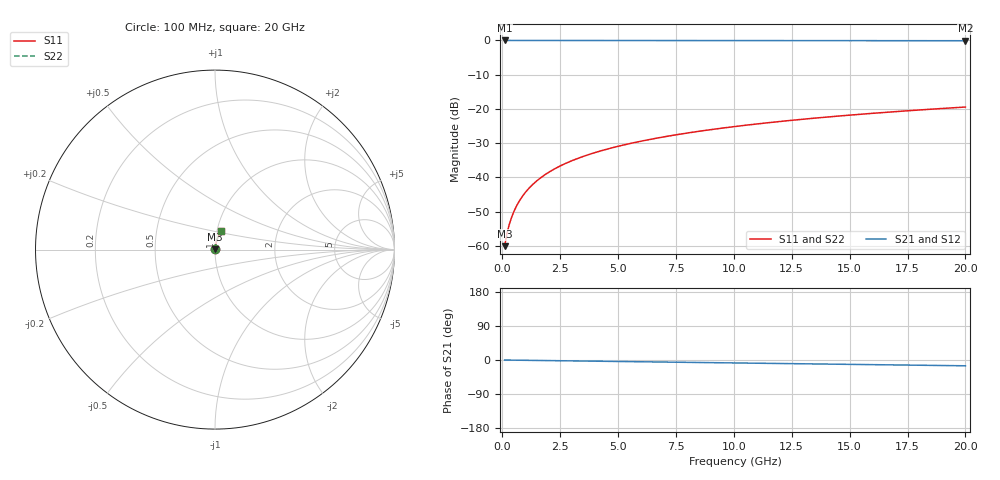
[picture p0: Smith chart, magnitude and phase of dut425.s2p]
! Touchstone file exported from HFSS 2026.1.0
!  File:  C:/ffzhzh/LocalFiles/Ansys_Project_Files/temp_train_TMRDL_425_1783005337_51716.aedt
!  Generated:  11:16:58 PM Jul  2, 2026
!  Design:  TMRDL
!  Project:  temp_train_TMRDL_425_1783005337_51716
! Variables:
!  h_bsmrdl = 2um
!  h_ox = 20um
!  h_rdl = 5um
!  h_sub = 80um
!  h_tmrdl = 5.84um
!  h_tsv = 80um
!  h_via = 3um
!  l_bsmrdl = 300um
!  l_sub = 626.07um
!  l_tmrdl = 226.07um
!  m_sub = 200um
!  pitch = 41.22um
!  r_tsv = 6um
!  s_tmrdl = 10um
!  w_bsmrdl = 18um
!  w_sub = 500um
!  w_tmrdl = 24.47um
!  x_tsv_center1 = 238.305um
!  x_tsv_center2 = 556.305um
!  x_tsv_center3 = 806.845um
!  x_tsv_center4 = 1124.845um
!  x_tsv_center5 = 1375.385um
!  x_tsv_center6 = 1693.385um
# GHz S MA R 50.000000
! Terminal data exported
! Port[1] = TM_RDL1_1_T1
! Port[2] = TM_RDL1_1_T2
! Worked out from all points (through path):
!   200 points, 100 MHz to 20 GHz, reference 50 ohm
!   highest |S21| = -0.01 dB at 100 MHz (marker M1); lowest = -0.1 dB at 20 GHz (marker M2)
!   group delay of S21, straight-line fit = 2.12 ps
!   lowest |S11| = -60.1 dB at 100 MHz (marker M3), VSWR 1.00, Z = 50.1 + j0.0684 ohm
!   |S11| at or under -10 dB: start of sweep to end of sweep
!   |S22| runs from -60.1 to -19.4 dB; largest |S21 - S12| = 1.1e-15
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0.1  0.0009925 43.5  0.9993 -0.1  0.9993 -0.1  0.0009925 43.5
! Gamma 0 0 0 0
! Port Impedance 50 0 50 0
0.2  0.001515 58.5  0.9992 -0.2  0.9992 -0.2  0.001515 58.5
0.3  0.002054 66.0  0.9992 -0.2  0.9992 -0.2  0.002054 66.0
0.4  0.002608 70.5  0.9991 -0.3  0.9991 -0.3  0.002608 70.5
0.5  0.003172 73.6  0.9991 -0.4  0.9991 -0.4  0.003172 73.6
0.6  0.003745 75.7  0.9991 -0.5  0.9991 -0.5  0.003745 75.7
0.8  0.004902 78.4  0.999 -0.6  0.999 -0.6  0.004902 78.4
1.1  0.00665 80.5  0.9989 -0.9  0.9989 -0.9  0.00665 80.4
1.3  0.007816 81.2  0.9989 -1.0  0.9989 -1.0  0.007816 81.2
1.5  0.008978 81.7  0.9988 -1.2  0.9988 -1.2  0.008978 81.7
1.8  0.01071 82.1  0.9987 -1.4  0.9987 -1.4  0.01071 82.1
2.1  0.01243 82.3  0.9986 -1.7  0.9986 -1.7  0.01243 82.3
2.7  0.01583 82.4  0.9984 -2.1  0.9984 -2.1  0.01583 82.4
3.5  0.02029 82.2  0.998 -2.8  0.998 -2.8  0.02029 82.2
4.2  0.02414 81.9  0.9977 -3.3  0.9977 -3.3  0.02414 81.9
5  0.02849 81.6  0.9973 -3.9  0.9973 -3.9  0.02849 81.5
6.8  0.03816 80.7  0.9966 -5.3  0.9966 -5.3  0.03817 80.7
8.3  0.04616 79.8  0.9959 -6.4  0.9959 -6.4  0.04616 79.8
10.1  0.05568 78.8  0.9951 -7.8  0.9951 -7.8  0.05568 78.8
13.4  0.07294 76.7  0.9935 -10.3  0.9935 -10.3  0.07294 76.6
16.7  0.08993 74.4  0.9916 -12.8  0.9916 -12.8  0.08993 74.4
20  0.1066 72.2  0.9896 -15.3  0.9896 -15.3  0.1066 72.2
